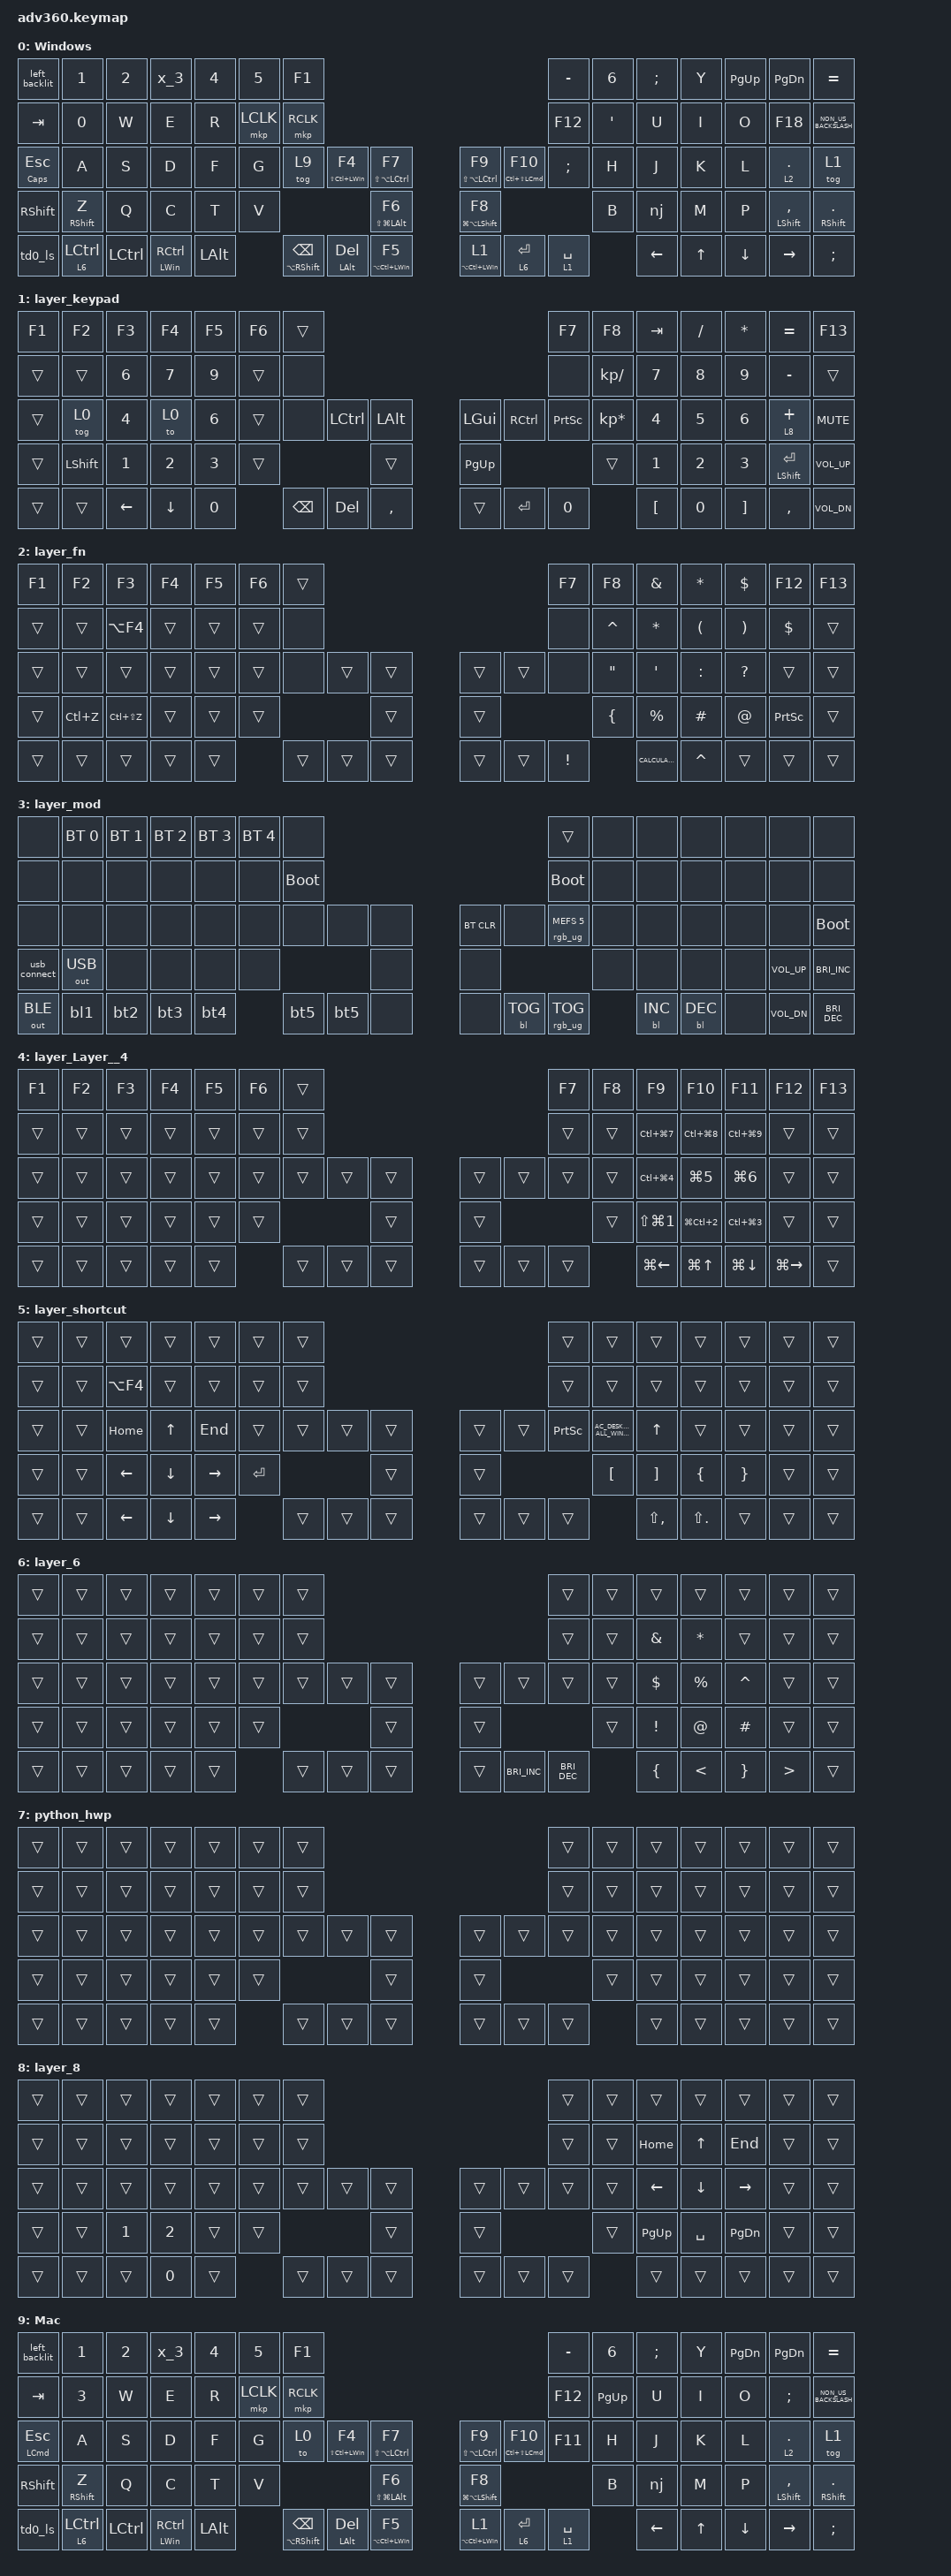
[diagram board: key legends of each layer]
/*
 * Copyright (c) 2020 The ZMK Contributors
 *
 * SPDX-License-Identifier: MIT
 */
/* THIS FILE WAS GENERATED!
 *
 * This file was generated automatically. You may or may not want to
 * edit it directly.
 */

#include <dt-bindings/zmk/mouse.h>
#include <behaviors.dtsi>
#include <dt-bindings/zmk/backlight.h>
#include <dt-bindings/zmk/bt.h>
#include <dt-bindings/zmk/keys.h>
#include <dt-bindings/zmk/outputs.h>
#include <dt-bindings/zmk/pointing.h>
#include <dt-bindings/zmk/rgb.h>

/ {
    combos {
        compatible = "zmk,combos";

        linsert {
            timeout-ms = <40>;
            key-positions = <18 33>;
            bindings = <&kp INSERT>;
        };

        Rminus {
            timeout-ms = <40>;
            key-positions = <54 41>;
            bindings = <&kp MINUS>;
        };

        Requal {
            timeout-ms = <40>;
            key-positions = <40 23>;
            bindings = <&kp EQUAL>;
        };

        lenter {
            timeout-ms = <40>;
            key-positions = <32 33>;
            bindings = <&kp N>;
            layers = <0>;
        };

        leftm {
            timeout-ms = <40>;
            key-positions = <50 51>;
            bindings = <&kp M>;
            layers = <0>;
        };

        rf2 {
            timeout-ms = <40>;
            key-positions = <23 24>;
            bindings = <&kp F2>;
        };

        rf3 {
            timeout-ms = <40>;
            key-positions = <23 25>;
            bindings = <&kp F3>;
            layers = <0>;
        };

        rf4 {
            timeout-ms = <40>;
            key-positions = <41 25>;
            bindings = <&kp F4>;
            layers = <0>;
        };

        rf5 {
            timeout-ms = <40>;
            key-positions = <24 25>;
            bindings = <&kp F5>;
            layers = <0>;
        };

        rf6 {
            timeout-ms = <40>;
            key-positions = <25 42>;
            bindings = <&kp F6>;
            layers = <0>;
        };

        rf7 {
            timeout-ms = <40>;
            key-positions = <24 57>;
            bindings = <&kp F7>;
            layers = <0>;
        };

        lout {
            timeout-ms = <40>;
            key-positions = <66 69>;
            bindings = <&out OUT_TOG>;
        };

        df_mod {
            timeout-ms = <50>;
            key-positions = <31 32>;
            bindings = <&underbar_dd 4 UNDERSCORE>;
        };

        laltcmd {
            timeout-ms = <30>;
            key-positions = <30 31 32>;
            bindings = <&kp LA(LC(LEFT_COMMAND))>;
        };

        altf4 {
            timeout-ms = <40>;
            key-positions = <16 17 18>;
            bindings = <&kp LA(F4)>;
        };

        ctrlshiftt {
            timeout-ms = <40>;
            key-positions = <16 3 18>;
            bindings = <&kp LS(RG(T))>;
        };

        ralt2 {
            timeout-ms = <50>;
            key-positions = <41 56>;
            bindings = <&kp APOSTROPHE>;
            layers = <0>;
        };

        creturn {
            timeout-ms = <50>;
            key-positions = <55 57 56>;
            bindings = <&kp RETURN>;
            layers = <0>;
        };

        c_ctrlz {
            timeout-ms = <45>;
            key-positions = <30 32>;
            bindings = <&mt LC(LEFT_ALT) RG(Z)>;
        };

        c_pausebreak {
            timeout-ms = <45>;
            key-positions = <54 55>;
            bindings = <&kp LG(LA(LCTRL))>;
            layers = <0>;
        };

        c_nj {
            timeout-ms = <80>;
            key-positions = <42 55>;
            bindings = <&njcro>;
            layers = <0>;
        };

        c_home {
            timeout-ms = <30>;
            key-positions = <71 72>;
            bindings = <&kp HOME>;
        };

        c_end {
            timeout-ms = <50>;
            key-positions = <72 73>;
            bindings = <&kp END>;
        };

        c_pgup {
            timeout-ms = <50>;
            key-positions = <71 56>;
            bindings = <&kp PG_UP>;
        };

        c_pgdn {
            timeout-ms = <50>;
            key-positions = <73 71>;
            bindings = <&kp PG_DN>;
        };

        c_dot {
            timeout-ms = <50>;
            key-positions = <42 57>;
            bindings = <&kp DOT>;
        };

        c_dotdot {
            timeout-ms = <50>;
            key-positions = <57 56>;
            bindings = <&kp DOT>;
            layers = <0>;
        };

        raltctrl {
            timeout-ms = <50>;
            key-positions = <43 41>;
            bindings = <&kp LG(LA(LEFT_CONTROL))>;
            layers = <0>;
        };

        rslash {
            timeout-ms = <30>;
            key-positions = <24 41>;
            bindings = <&kp SLASH>;
            require-prior-idle-ms = <0>;
        };

        Mod.r_ctrl.alt {
            timeout-ms = <30>;
            bindings = <&kp LA(LCTRL)>;
            key-positions = <41 43>;
        };

        r_backslash {
            timeout-ms = <30>;
            bindings = <&kp BACKSLASH>;
            key-positions = <24 43>;
        };

        caps {
            bindings = <&kp CAPSLOCK>;
            key-positions = <46 59>;
        };

        f8 {
            bindings = <&kp F8>;
            key-positions = <42 73>;
        };

        numberlock {
            bindings = <&kp KP_NLCK>;
            key-positions = <3 10>;
        };

        f12 {
            bindings = <&kp F12>;
            key-positions = <13 12>;
        };

        f11 {
            bindings = <&kp F11>;
            key-positions = <11 12>;
        };

        slck {
            bindings = <&kp SCROLLLOCK>;
            key-positions = <5 8>;
        };

        ctrl_alt_win {
            bindings = <&kp LA(LC(LEFT_WIN))>;
            key-positions = <62 63 64>;
        };

        MBK_middle {
            bindings = <&mkp MCLK>;
            key-positions = <34 20>;
        };

        f9 {
            bindings = <&kp F9>;
            key-positions = <11 26>;
        };

        ctrl_v {
            bindings = <&kp RG(V)>;
            key-positions = <50 31>;
            layers = <0>;
        };

        ddddddd {
            bindings = <&kp RG(C)>;
            key-positions = <32 17>;
            layers = <0>;
            timeout-ms = <45>;
        };

        ctrl_x {
            bindings = <&kp RG(X)>;
            key-positions = <3 18>;
        };

        alt_right_left {
            bindings = <&kp LC(LEFT_ALT)>;
            key-positions = <54 56>;
        };

        ralt2ddd {
            bindings = <&kp RIGHT_ALT>;
            key-positions = <43 42>;
        };
    };

    behaviors {
        #include "macros.dtsi"

        hm: homerow_mods {
            compatible = "zmk,behavior-hold-tap";
            label = "HOMEROW_MODS";
            #binding-cells = <2>;
            tapping-term-ms = <200>;
            quick_tap_ms = <175>;
            flavor = "tap-preferred";
            bindings = <&kp>, <&kp>;

            hold-trigger-key-positions = <71 72 73 74 64 63 62 57 29 31 42 55 41 48 50 51 49 30 32 33 19 18 17 16 56 43 23 24 25 54 40 22 1 3 2 5 4 8 9 10 11 12 13 27 15 47 69 26 44 58>;
        };

        capsword: balanced_homerow_mods {
            compatible = "zmk,behavior-hold-tap";
            label = "HOMEROW_MODS2";
            #binding-cells = <2>;
            tapping-term-ms = <200>;
            quick-tap-ms = <0>;
            flavor = "hold-preferred";
            bindings = <&caps_word>, <&kp>;
        };

        pht: positional_hold_tap {
            compatible = "zmk,behavior-hold-tap";
            label = "POSITIONAL_HOLD_TAP";
            #binding-cells = <2>;
            flavor = "hold-preferred";
            tapping-term-ms = <400>;
            quick-tap-ms = <200>;
            bindings = <&kp>, <&kp>;

            hold-trigger-key-positions = <1 2 3 4 5 6 7 8 9 10 11 12 13 14 15 16 17 18 19 20 21 26 27 28 29 30 31 32 33 34 35 36 37 38 45 46 47 48 49 50 51 52 53 59 60 61 62 63 64 65 71 72 73 74 70 69>;
        };

        pht2: positional_hold_tap2 {
            compatible = "zmk,behavior-hold-tap";
            label = "POSITIONAL_HOLD_TAP2";
            #binding-cells = <2>;
            flavor = "hold-preferred";
            tapping-term-ms = <200>;
            quick-tap-ms = <150>;
            bindings = <&sk>, <&kp>;

            hold-trigger-key-positions = <0 1 2 3 4 5 6 7 8 9 10 14 15 16 17 18 19 20 21 22 23 24 25 28 29 30 31 32 33 35 36 37 38 39 40 41 42 43 44 45 46 47 48 49 50 51 54 55 56 57 58 59 65 66 67 68 69 70 71 72 73 11 27 12 26>;
        };

        pht3: positional_hold_tap3 {
            compatible = "zmk,behavior-hold-tap";
            label = "POSITIONAL_HOLD_TAP3";
            #binding-cells = <2>;
            flavor = "hold-preferred";
            tapping-term-ms = <400>;
            quick-tap-ms = <200>;
            bindings = <&mo>, <&kp>;

            hold-trigger-key-positions = <23 24 25 41 42 43 55 56 57 71 72 73 58 47 44 74>;
        };

        pht4: positional_hold_tap4 {
            compatible = "zmk,behavior-hold-tap";
            label = "POSITIONAL_HOLD_TAP4";
            #binding-cells = <2>;
            flavor = "hold-preferred";
            tapping-term-ms = <400>;
            quick-tap-ms = <200>;
            bindings = <&mo>, <&kp>;

            hold-trigger-key-positions =
                <39>,
                <40>,
                <41>,
                <42>,
                <54>,
                <55>,
                <56>,
                <71>,
                <72>;
        };

        td0_ls: tap_dance_ls_0 {
            compatible = "zmk,behavior-tap-dance";
            label = "TAP_DANCE_ls_0";
            #binding-cells = <0>;
            tapping-term-ms = <200>;
            bindings = <&mo 3>, <&kp PAUSE_BREAK>, <&date_now>;
        };

        pht5_semicolon: pht5_semicolon {
            compatible = "zmk,behavior-hold-tap";
            label = "PHT5_SEMICOLON";
            #binding-cells = <2>;
            flavor = "hold-preferred";
            tapping-term-ms = <400>;
            quick-tap-ms = <200>;
            bindings = <&mo>, <&kp>;

            hold-trigger-key-positions = <43 42 41 55 56 57 25 24 54 40 23 22 8 10 9 11 73 72 71 12 13 26 27 44 45 58 59 74 75 70 21 39 7>;
        };

        hklt: hklt {
            compatible = "zmk,behavior-hold-tap";
            label = "HKLT";
            bindings = <&kp>, <&tog>;

            #binding-cells = <2>;
            tapping-term-ms = <200>;
            retro-tap;
        };

        underbar_dd: underbar_dd {
            compatible = "zmk,behavior-hold-tap";
            label = "UNDERBAR_DD";
            bindings = <&mo>, <&kp>;

            #binding-cells = <2>;
            tapping-term-ms = <200>;
            hold-trigger-key-positions = <57 56 55 71 41 42 43 25 24 23>;
            quick-tap-ms = <100>;
        };

        x_3: x_3 {
            compatible = "zmk,behavior-mod-morph";
            label = "X_3";
            bindings = <&kp X>, <&kp NUMBER_3>;

            #binding-cells = <0>;
            keep-mods = <(MOD_LGUI)>;
            mods = <(MOD_LGUI)>;
        };

        nj: nj {
            compatible = "zmk,behavior-mod-morph";
            label = "NJ";
            bindings = <&kp N>, <&njcro>;

            #binding-cells = <0>;
            mods = <(MOD_LSFT)>;
        };

        left_backlit: left_backlit {
            compatible = "zmk,behavior-mod-morph";
            label = "LEFT_BACKLIT";
            bindings = <&kp GRAVE>, <&kp LG(N0)>;

            #binding-cells = <0>;
            mods = <(MOD_LGUI)>;
            keep-mods = <(MOD_LGUI)>;
        };
    };

    macros {
        date_now: date_now {
            compatible = "zmk,behavior-macro";
            #binding-cells = <0>;
            bindings = <&kp LS(LA(LG(SEMICOLON)))>;
            label = "DATE_NOW";
        };

        njcro: njcro {
            compatible = "zmk,behavior-macro";
            #binding-cells = <0>;
            bindings = <&kp N &kp J>;
            label = "NJCRO";
            wait-ms = <10>;
            tap-ms = <5>;
        };

        bl1: bl1 {
            compatible = "zmk,behavior-macro";
            #binding-cells = <0>;
            bindings = <&out OUT_TOG &bt BT_SEL 0>;
            label = "BL1";
        };

        bt2: bt2 {
            compatible = "zmk,behavior-macro";
            #binding-cells = <0>;
            bindings = <&out OUT_BLE &bt BT_SEL 1>;
            label = "BT2";
        };

        bt3: bt3 {
            compatible = "zmk,behavior-macro";
            #binding-cells = <0>;
            bindings = <&out OUT_BLE &bt BT_SEL 2>;
            label = "BT3";
        };

        bt4: bt4 {
            compatible = "zmk,behavior-macro";
            #binding-cells = <0>;
            bindings = <&out OUT_BLE &bt BT_SEL 3>;
            label = "BT4";
        };

        bt5: new_macro {
            compatible = "zmk,behavior-macro";
            #binding-cells = <0>;
            bindings = <&out OUT_BLE &bt BT_SEL 4>;
            label = "NEW_MACRO";
        };

        usb_connect: usb_connect {
            compatible = "zmk,behavior-macro";
            #binding-cells = <0>;
            bindings = <&out OUT_USB &to 0>;
            label = "USB_CONNECT";
        };
    };

    keymap {
        compatible = "zmk,keymap";

        Windows {
            bindings = <
&left_backlit     &kp NUMBER_1   &kp NUMBER_2  &x_3                &kp N4        &kp N5     &kp F1                                                                                                                                          &kp MINUS      &kp NUMBER_6  &kp SEMI  &kp Y         &kp PG_UP  &kp PG_DN              &kp EQUAL
&kp TAB           &kp N0         &kp W         &kp E               &kp R         &mkp LCLK  &mkp RCLK                                                                                                                                       &kp F12        &kp SQT       &kp U     &kp I         &kp O      &kp F18                &kp NON_US_BACKSLASH
&mt CAPSLOCK ESC  &kp A          &kp S         &kp D               &kp F         &kp G      &tog 9                         &mt LS(LC(LEFT_WIN)) F4  &mt LS(LA(LCTRL)) F7         &mt LS(LA(LEFT_CONTROL)) F9  &mt LC(LS(LEFT_COMMAND)) F10  &kp SEMICOLON  &kp H         &kp J     &kp K         &kp L      &pht5_semicolon 2 DOT  &tog 1
&kp RIGHT_SHIFT   &pht RSHFT Z   &kp Q         &kp C               &kp T         &kp V                                                              &mt LS(LG(LEFT_ALT)) F6      &mt LG(LA(LSHFT)) F8                                                      &kp B         &nj       &kp M         &kp P      &pht2 LSHFT COMMA      &mt RIGHT_SHIFT DOT
&td0_ls           &pht3 6 LCTRL  &kp LCTRL     &mt LEFT_WIN RCTRL  &kp LEFT_ALT             &hm LA(RIGHT_SHIFT) BACKSPACE  &mt LEFT_ALT DEL         &mt LA(LC(LEFT_WIN)) F5      &hklt LA(LC(LEFT_WIN)) 1     &pht4 6 ENTER                 &pht3 1 SPACE                &kp LEFT  &kp UP_ARROW  &kp DOWN   &kp RIGHT              &kp SEMI
            >;
        };

        layer_keypad {
            bindings = <
&kp F1  &kp F2          &kp F3        &kp F4        &kp F5        &kp F6  &trans                                                    &kp F7           &kp F8           &kp TAB           &kp SLASH     &kp ASTERISK       &kp EQUAL               &kp F13
&trans  &trans          &kp NUMBER_6  &kp N7        &kp N9        &trans  &none                                                     &none            &kp KP_DIVIDE    &kp NUMBER_7      &kp NUMBER_8  &kp NUMBER_9       &kp MINUS               &trans
&trans  &tog 0          &kp NUMBER_4  &to 0         &kp NUMBER_6  &trans  &none     &kp LCTRL  &kp LALT       &kp LGUI   &kp RCTRL  &kp PRINTSCREEN  &kp KP_MULTIPLY  &kp NUMBER_4      &kp NUMBER_5  &kp NUMBER_6       &pht5_semicolon 8 PLUS  &kp K_MUTE
&trans  &kp LEFT_SHIFT  &kp NUMBER_1  &kp NUMBER_2  &kp NUMBER_3  &trans                       &trans         &kp PG_UP                              &trans           &kp NUMBER_1      &kp NUMBER_2  &kp NUMBER_3       &pht2 LEFT_SHIFT ENTER  &kp C_VOLUME_UP
&trans  &trans          &kp LEFT      &kp DOWN      &kp N0                &kp BSPC  &kp DEL    &kp COMMA      &trans     &kp ENTER  &kp NUMBER_0                      &kp LEFT_BRACKET  &kp NUMBER_0  &kp RIGHT_BRACKET  &kp COMMA               &kp C_VOL_DN
            >;
        };

        layer_fn {
            bindings = <
&kp F1  &kp F2     &kp F3         &kp F4  &kp F5  &kp F6  &trans                                      &kp F7           &kp F8             &kp AMPERSAND     &kp ASTERISK          &kp DOLLAR             &kp F12          &kp F13
&trans  &trans     &kp LA(F4)     &trans  &trans  &trans  &none                                       &none            &kp CARET          &kp ASTERISK      &kp LEFT_PARENTHESIS  &kp RIGHT_PARENTHESIS  &kp DOLLAR       &trans
&trans  &trans     &trans         &trans  &trans  &trans  &none   &trans  &trans      &trans  &trans  &none            &kp DOUBLE_QUOTES  &kp SQT           &kp COLON             &kp QUESTION           &trans           &trans
&trans  &kp LC(Z)  &kp LC(LS(Z))  &trans  &trans  &trans                  &trans      &trans                           &kp LEFT_BRACE     &kp PERCENT       &kp HASH              &kp AT_SIGN            &kp PRINTSCREEN  &trans
&trans  &trans     &trans         &trans  &trans          &trans  &trans  &trans      &trans  &trans  &kp EXCLAMATION                     &kp K_CALCULATOR  &kp CARET             &trans                 &trans           &trans
            >;
        };

        layer_mod {
            bindings = <
&none         &bt BT_SEL 0  &bt BT_SEL 1  &bt BT_SEL 2  &bt BT_SEL 3  &bt BT_SEL 4  &none                                                  &trans                  &none  &none       &none       &none  &none            &none
&none         &none         &none         &none         &none         &none         &bootloader                                            &bootloader             &none  &none       &none       &none  &none            &none
&none         &none         &none         &none         &none         &none         &none        &none  &none      &bt BT_CLR  &none       &rgb_ug RGB_MEFS_CMD 5  &none  &none       &none       &none  &none            &bootloader
&usb_connect  &out OUT_USB  &none         &none         &none         &none                             &none      &none                                           &none  &none       &none       &none  &kp C_VOLUME_UP  &kp C_BRIGHTNESS_INC
&out OUT_BLE  &bl1          &bt2          &bt3          &bt4                        &bt5         &bt5   &none      &none       &bl BL_TOG  &rgb_ug RGB_TOG                &bl BL_INC  &bl BL_DEC  &none  &kp C_VOL_DN     &kp C_BRIGHTNESS_DEC
            >;
        };

        layer_Layer__4 {
            bindings = <
&kp F1  &kp F2  &kp F3  &kp F4  &kp F5  &kp F6  &trans                                      &kp F7  &kp F8  &kp F9                &kp F10               &kp F11               &kp F12        &kp F13
&trans  &trans  &trans  &trans  &trans  &trans  &trans                                      &trans  &trans  &kp LC(LG(NUMBER_7))  &kp LC(LG(NUMBER_8))  &kp LC(LG(NUMBER_9))  &trans         &trans
&trans  &trans  &trans  &trans  &trans  &trans  &trans  &trans  &trans      &trans  &trans  &trans  &trans  &kp LC(LG(NUMBER_4))  &kp LG(NUMBER_5)      &kp LG(NUMBER_6)      &trans         &trans
&trans  &trans  &trans  &trans  &trans  &trans                  &trans      &trans                  &trans  &kp LS(LG(N1))        &kp LG(LC(N2))        &kp LC(LG(N3))        &trans         &trans
&trans  &trans  &trans  &trans  &trans          &trans  &trans  &trans      &trans  &trans  &trans          &kp LG(LEFT)          &kp LG(UP)            &kp LG(DOWN)          &kp LG(RIGHT)  &trans
            >;
        };

        layer_shortcut {
            bindings = <
&trans  &trans  &trans      &trans        &trans     &trans     &trans                                      &trans           &trans                             &trans             &trans          &trans           &trans  &trans
&trans  &trans  &kp LA(F4)  &trans        &trans     &trans     &trans                                      &trans           &trans                             &trans             &trans          &trans           &trans  &trans
&trans  &trans  &kp HOME    &kp UP_ARROW  &kp END    &trans     &trans  &trans  &trans      &trans  &trans  &kp PRINTSCREEN  &kp C_AC_DESKTOP_SHOW_ALL_WINDOWS  &kp UP_ARROW       &trans          &trans           &trans  &trans
&trans  &trans  &kp LEFT    &kp DOWN      &kp RIGHT  &kp ENTER                  &trans      &trans                           &kp LEFT_BRACKET                   &kp RIGHT_BRACKET  &kp LEFT_BRACE  &kp RIGHT_BRACE  &trans  &trans
&trans  &trans  &kp LEFT    &kp DOWN      &kp RIGHT             &trans  &trans  &trans      &trans  &trans  &trans                                              &kp LS(COMMA)      &kp LS(DOT)     &trans           &trans  &trans
            >;
        };

        layer_6 {
            bindings = <
&trans  &trans  &trans  &trans  &trans  &trans  &trans                                                    &trans                &trans  &trans           &trans         &trans           &trans            &trans
&trans  &trans  &trans  &trans  &trans  &trans  &trans                                                    &trans                &trans  &kp AMPERSAND    &kp ASTERISK   &trans           &trans            &trans
&trans  &trans  &trans  &trans  &trans  &trans  &trans  &trans  &trans      &trans  &trans                &trans                &trans  &kp DOLLAR       &kp PERCENT    &kp CARET        &trans            &trans
&trans  &trans  &trans  &trans  &trans  &trans                  &trans      &trans                                              &trans  &kp EXCLAMATION  &kp AT_SIGN    &kp HASH         &trans            &trans
&trans  &trans  &trans  &trans  &trans          &trans  &trans  &trans      &trans  &kp C_BRIGHTNESS_INC  &kp C_BRIGHTNESS_DEC          &kp LEFT_BRACE   &kp LESS_THAN  &kp RIGHT_BRACE  &kp GREATER_THAN  &trans
            >;
        };

        python_hwp {
            bindings = <
&trans  &trans  &trans  &trans  &trans  &trans  &trans                                      &trans  &trans  &trans  &trans  &trans  &trans  &trans
&trans  &trans  &trans  &trans  &trans  &trans  &trans                                      &trans  &trans  &trans  &trans  &trans  &trans  &trans
&trans  &trans  &trans  &trans  &trans  &trans  &trans  &trans  &trans      &trans  &trans  &trans  &trans  &trans  &trans  &trans  &trans  &trans
&trans  &trans  &trans  &trans  &trans  &trans                  &trans      &trans                  &trans  &trans  &trans  &trans  &trans  &trans
&trans  &trans  &trans  &trans  &trans          &trans  &trans  &trans      &trans  &trans  &trans          &trans  &trans  &trans  &trans  &trans
            >;
        };

        layer_8 {
            bindings = <
&trans  &trans  &trans        &trans        &trans  &trans  &trans                                      &trans  &trans  &trans     &trans        &trans         &trans  &trans
&trans  &trans  &trans        &trans        &trans  &trans  &trans                                      &trans  &trans  &kp HOME   &kp UP_ARROW  &kp END        &trans  &trans
&trans  &trans  &trans        &trans        &trans  &trans  &trans  &trans  &trans      &trans  &trans  &trans  &trans  &kp LEFT   &kp DOWN      &kp RIGHT      &trans  &trans
&trans  &trans  &kp NUMBER_1  &kp NUMBER_2  &trans  &trans                  &trans      &trans                  &trans  &kp PG_UP  &kp SPACE     &kp PAGE_DOWN  &trans  &trans
&trans  &trans  &trans        &kp N0        &trans          &trans  &trans  &trans      &trans  &trans  &trans          &trans     &trans        &trans         &trans  &trans
            >;
        };

        Mac {
            bindings = <
&left_backlit         &kp NUMBER_1   &kp NUMBER_2  &x_3                &kp N4        &kp N5     &kp F1                                                                                                                                          &kp MINUS      &kp NUMBER_6  &kp SEMI  &kp Y         &kp PAGE_DOWN  &kp PG_DN              &kp EQUAL
&kp TAB               &kp N3         &kp W         &kp E               &kp R         &mkp LCLK  &mkp RCLK                                                                                                                                       &kp F12        &kp PG_UP     &kp U     &kp I         &kp O          &kp SEMICOLON          &kp NON_US_BACKSLASH
&mt LEFT_COMMAND ESC  &kp A          &kp S         &kp D               &kp F         &kp G      &to 0                          &mt LS(LC(LEFT_WIN)) F4  &mt LS(LA(LCTRL)) F7         &mt LS(LA(LEFT_CONTROL)) F9  &mt LC(LS(LEFT_COMMAND)) F10  &kp F11        &kp H         &kp J     &kp K         &kp L          &pht5_semicolon 2 DOT  &tog 1
&kp RIGHT_SHIFT       &pht RSHFT Z   &kp Q         &kp C               &kp T         &kp V                                                              &mt LS(LG(LEFT_ALT)) F6      &mt LG(LA(LSHFT)) F8                                                      &kp B         &nj       &kp M         &kp P          &pht2 LSHFT COMMA      &mt RIGHT_SHIFT DOT
&td0_ls               &pht3 6 LCTRL  &kp LCTRL     &mt LEFT_WIN RCTRL  &kp LEFT_ALT             &hm LA(RIGHT_SHIFT) BACKSPACE  &mt LEFT_ALT DEL         &mt LA(LC(LEFT_WIN)) F5      &hklt LA(LC(LEFT_WIN)) 1     &pht4 6 ENTER                 &pht3 1 SPACE                &kp LEFT  &kp UP_ARROW  &kp DOWN       &kp RIGHT              &kp SEMI
            >;
        };
    };

    conditional_layers { compatible = "zmk,conditional-layers"; };
};
